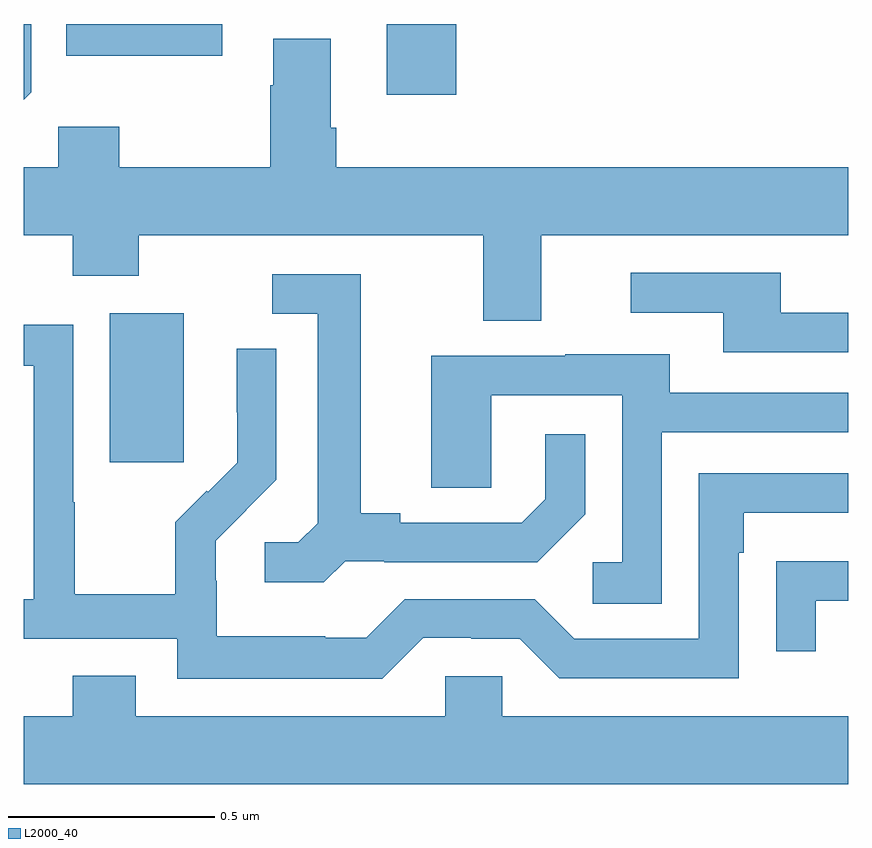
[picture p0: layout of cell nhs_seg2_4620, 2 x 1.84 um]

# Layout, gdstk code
import gdstk
lib = gdstk.Library(unit=1e-6, precision=1e-09)
def R(c, l, rs):  # rectangles x0, y0, x1, y1
    for r in rs: c.add(gdstk.rectangle(r[:2], r[2:], *l))
def P(c, l, *ps):  # polygons
    for p in ps: c.add(gdstk.Polygon(p, *l))
L2000_40 = (2000, 40)

nhs_seg2_4620 = lib.new_cell('nhs_seg2_4620')
R(nhs_seg2_4620, L2000_40, [(168.209,661.737,168.388,662.098), (168.881,662.628,169.049,662.8), (168.103,662.723,168.481,662.8)])
P(nhs_seg2_4620, L2000_40, [(168.018,662.634),(168.018,662.8),(168,662.8),(168,662.616)],
  [(169.255,662.288),(170,662.288),(170,662.452),(168.758,662.452),(168.758,662.548),(168.745,662.548),(168.745,662.764),(168.605,662.764),(168.605,662.651),(168.598,662.651),(168.598,662.452),(168.231,662.452),(168.231,662.551),(168.084,662.551),(168.084,662.452),(168,662.452),(168,662.288),(168.119,662.288),(168.119,662.189),(168.279,662.189),(168.279,662.288),(169.115,662.288),(169.115,662.08),(169.255,662.08)],
  [(170,662.1),(169.837,662.1),(169.837,662.196),(169.473,662.196),(169.473,662.1),(169.697,662.1),(169.697,662.004),(170,662.004)],
  [(168.78,661.497),(168.874,661.497),(168.874,661.494),(169.246,661.494),(169.362,661.61),(169.362,661.804),(169.265,661.804),(169.265,661.647),(169.208,661.59),(168.913,661.59),(168.913,661.613),(168.817,661.613),(168.817,662.193),(168.603,662.193),(168.603,662.097),(168.713,662.097),(168.713,661.589),(168.666,661.542),(168.585,661.542),(168.585,661.445),(168.728,661.445)],
  [(168.969,661.311),(169.085,661.311),(169.085,661.308),(169.203,661.308),(169.299,661.212),(169.734,661.212),(169.734,661.517),(169.747,661.517),(169.747,661.614),(170,661.614),(170,661.71),(169.638,661.71),(169.638,661.308),(169.335,661.308),(169.239,661.404),(168.924,661.404),(168.831,661.311),(168.731,661.311),(168.731,661.315),(168.468,661.315),(168.468,661.449),(168.466,661.449),(168.466,661.546),(168.54,661.62),(168.539,661.621),(168.612,661.694),(168.612,662.012),(168.516,662.012),(168.516,661.858),(168.518,661.858),(168.518,661.736),(168.447,661.665),(168.444,661.668),(168.367,661.591),(168.367,661.417),(168.123,661.417),(168.123,661.64),(168.12,661.64),(168.12,662.07),(168,662.07),(168,661.971),(168.024,661.971),(168.024,661.404),(168,661.404),(168,661.308),(168.372,661.308),(168.372,661.211),(168.869,661.211)],
  [(169.548,661.809),(170,661.809),(170,661.905),(169.567,661.905),(169.567,661.999),(169.313,661.999),(169.313,661.995),(168.989,661.995),(168.989,661.675),(169.134,661.675),(169.134,661.899),(169.452,661.899),(169.452,661.494),(169.38,661.494),(169.38,661.393),(169.548,661.393)],
  [(169.921,661.401),(170,661.401),(170,661.497),(169.927,661.497),(169.927,661.496),(169.825,661.496),(169.825,661.278),(169.921,661.278)],
  [(170,661.12),(169.161,661.12),(169.161,661.218),(169.023,661.218),(169.023,661.12),(168.271,661.12),(168.271,661.219),(168.119,661.219),(168.119,661.12),(168,661.12),(168,660.956),(170,660.956)])

lib.write_gds('nhs_seg2_4620.gds')
